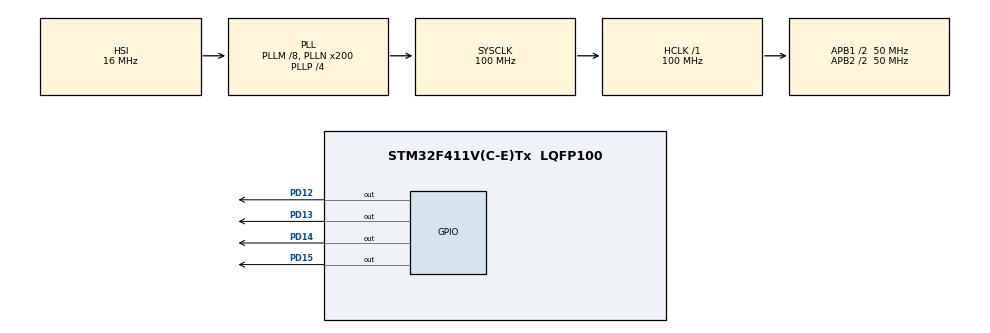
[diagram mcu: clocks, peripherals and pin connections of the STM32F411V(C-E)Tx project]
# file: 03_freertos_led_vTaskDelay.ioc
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Mcu.Family=STM32F4
Mcu.Name=STM32F411V(C-E)Tx
Mcu.Package=LQFP100
NVIC.PriorityGroup=NVIC_PRIORITYGROUP_4
NVIC.TIM5_IRQn=true\:15\:0\:false\:false\:true\:false\:true
NVIC.TimeBase=TIM5_IRQn
NVIC.TimeBaseIP=TIM5
PD12.GPIO_PuPd=GPIO_PULLUP
PD12.Signal=GPIO_Output
PD13.GPIO_PuPd=GPIO_PULLUP
PD13.Signal=GPIO_Output
PD14.GPIO_PuPd=GPIO_PULLUP
PD14.Signal=GPIO_Output
PD15.GPIO_PuPd=GPIO_PULLUP
PD15.Signal=GPIO_Output
ProjectManager.HeapSize=0x200
ProjectManager.StackSize=0x400
ProjectManager.TargetToolchain=STM32CubeIDE
RCC.48MHZClocksFreq_Value=50000000
RCC.AHBFreq_Value=100000000
RCC.APB1CLKDivider=RCC_HCLK_DIV2
RCC.APB1Freq_Value=50000000
RCC.APB1TimFreq_Value=100000000
RCC.APB2CLKDivider=RCC_HCLK_DIV2
RCC.APB2Freq_Value=50000000
RCC.APB2TimFreq_Value=100000000
RCC.CortexFreq_Value=100000000
RCC.HCLKFreq_Value=100000000
RCC.HSE_VALUE=8000000
RCC.HSI_VALUE=16000000
RCC.LSE_VALUE=32768
RCC.PLLI2SM=5
RCC.PLLI2SN=200
RCC.PLLM=8
RCC.PLLN=200
RCC.PLLP=RCC_PLLP_DIV4
RCC.PLLQ=8
RCC.SYSCLKFreq_VALUE=100000000
RCC.SYSCLKSource=RCC_SYSCLKSOURCE_PLLCLK
RCC.VCOOutputFreq_Value=400000000
VP_SYS_VS_tim5.Mode=TIM5
board=STM32F411E-DISCO

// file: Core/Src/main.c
/* USER CODE BEGIN Header */
/**
 ******************************************************************************
 * @file           : main.c
 * @brief          : Main program body
 ******************************************************************************
 * @attention
 *
 * Copyright (c) 2023 STMicroelectronics.
 * All rights reserved.
 *
 * This software is licensed under terms that can be found in the LICENSE file
 * in the root directory of this software component.
 * If no LICENSE file comes with this software, it is provided AS-IS.
 *
 ******************************************************************************
 */
/* USER CODE END Header */
#include "main.h"

/* USER CODE BEGIN Includes */

#include "FreeRTOS.h"
#include "task.h"

/* USER CODE END Includes */

/* USER CODE BEGIN PV */

#define DWT_CTRL    (*(volatile uint32_t*)0xE0001000)

/* USER CODE END PV */

void SystemClock_Config(void);
static void MX_GPIO_Init(void);
/* USER CODE BEGIN PFP */
void task_led_green(void *parameter);
void task_led_orange(void *parameter);
void task_led_red(void *parameter);
void task_led_blue(void *parameter);
/* USER CODE END PFP */

/* USER CODE BEGIN 0 */
extern void SEGGER_UART_init(uint32_t);
/* USER CODE END 0 */

int main(void) {
	/* USER CODE BEGIN 1 */
	TaskHandle_t taskHandle_led_green;
	TaskHandle_t taskHandle_led_orange;
	TaskHandle_t taskHandle_led_red;
	TaskHandle_t taskHandle_led_blue;

	BaseType_t status;
	/* USER CODE END 1 */

	/* MCU Configuration--------------------------------------------------------*/

	/* Reset of all peripherals, Initializes the Flash interface and the Systick. */
	HAL_Init();

	/* Configure the system clock */
	SystemClock_Config();

	/* Initialize all configured peripherals */
	MX_GPIO_Init();
	/* USER CODE BEGIN 2 */

	//Enable the CYCCNT counter.
	DWT_CTRL |= (1 << 0);

	SEGGER_SYSVIEW_Conf();
	SEGGER_SYSVIEW_Start();

	SEGGER_UART_init(500000);

	status = xTaskCreate(task_led_green, "led_green", 200, NULL, 2,
			&taskHandle_led_green);

	configASSERT(status == pdPASS);

	status = xTaskCreate(task_led_orange, "led_orange", 200, NULL, 2,
			&taskHandle_led_orange);

	configASSERT(status == pdPASS);

	status = xTaskCreate(task_led_red, "led_red", 200, NULL, 2,
			&taskHandle_led_red);

	configASSERT(status == pdPASS);
	status = xTaskCreate(task_led_blue, "led_blue", 200, NULL, 2,
			&taskHandle_led_blue);

	configASSERT(status == pdPASS);

	vTaskStartScheduler();
	/* USER CODE END 2 */

	/* Infinite loop */
	while (1) {

	}
}

void SystemClock_Config(void) {
	RCC_OscInitTypeDef RCC_OscInitStruct = { 0 };
	RCC_ClkInitTypeDef RCC_ClkInitStruct = { 0 };

	/** Configure the main internal regulator output voltage
	 */
	__HAL_RCC_PWR_CLK_ENABLE();
	__HAL_PWR_VOLTAGESCALING_CONFIG(PWR_REGULATOR_VOLTAGE_SCALE1);
	/** Initializes the RCC Oscillators according to the specified parameters
	 * in the RCC_OscInitTypeDef structure.
	 */
	RCC_OscInitStruct.OscillatorType = RCC_OSCILLATORTYPE_HSI;
	RCC_OscInitStruct.HSIState = RCC_HSI_ON;
	RCC_OscInitStruct.HSICalibrationValue = RCC_HSICALIBRATION_DEFAULT;
	RCC_OscInitStruct.PLL.PLLState = RCC_PLL_ON;
	RCC_OscInitStruct.PLL.PLLSource = RCC_PLLSOURCE_HSI;
	RCC_OscInitStruct.PLL.PLLM = 8;
	RCC_OscInitStruct.PLL.PLLN = 200;
	RCC_OscInitStruct.PLL.PLLP = RCC_PLLP_DIV4;
	RCC_OscInitStruct.PLL.PLLQ = 8;
	if (HAL_RCC_OscConfig(&RCC_OscInitStruct) != HAL_OK) {
		Error_Handler();
	}
	/** Initializes the CPU, AHB and APB buses clocks
	 */
	RCC_ClkInitStruct.ClockType = RCC_CLOCKTYPE_HCLK | RCC_CLOCKTYPE_SYSCLK
			| RCC_CLOCKTYPE_PCLK1 | RCC_CLOCKTYPE_PCLK2;
	RCC_ClkInitStruct.SYSCLKSource = RCC_SYSCLKSOURCE_PLLCLK;
	RCC_ClkInitStruct.AHBCLKDivider = RCC_SYSCLK_DIV1;
	RCC_ClkInitStruct.APB1CLKDivider = RCC_HCLK_DIV2;
	RCC_ClkInitStruct.APB2CLKDivider = RCC_HCLK_DIV2;

	if (HAL_RCC_ClockConfig(&RCC_ClkInitStruct, FLASH_LATENCY_3) != HAL_OK) {
		Error_Handler();
	}
}

static void MX_GPIO_Init(void) {
	GPIO_InitTypeDef GPIO_InitStruct = { 0 };

	/* GPIO Ports Clock Enable */
	__HAL_RCC_GPIOD_CLK_ENABLE();

	/*Configure GPIO pin Output Level */
	HAL_GPIO_WritePin(GPIOD,
			GPIO_PIN_12 | GPIO_PIN_13 | GPIO_PIN_14 | GPIO_PIN_15,
			GPIO_PIN_RESET);

	/*Configure GPIO pins : PD12 PD13 PD14 PD15 */
	GPIO_InitStruct.Pin = GPIO_PIN_12 | GPIO_PIN_13 | GPIO_PIN_14 | GPIO_PIN_15;
	GPIO_InitStruct.Mode = GPIO_MODE_OUTPUT_PP;
	GPIO_InitStruct.Pull = GPIO_PULLUP;
	GPIO_InitStruct.Speed = GPIO_SPEED_FREQ_LOW;
	HAL_GPIO_Init(GPIOD, &GPIO_InitStruct);

}

/* USER CODE BEGIN 4 */

void task_led_green(void *parameter) {

	while (1) {
		SEGGER_SYSVIEW_PrintfTarget("Toggling green LED");

		HAL_GPIO_TogglePin(GPIOD, GPIO_PIN_12);
//		HAL_Delay(1000);
		vTaskDelay(pdMS_TO_TICKS(1000));
	}
}

void task_led_orange(void *parameter) {

	while (1) {
		SEGGER_SYSVIEW_PrintfTarget("Toggling orange LED");

		HAL_GPIO_TogglePin(GPIOD, GPIO_PIN_13);
//		HAL_Delay(500);
		vTaskDelay(pdMS_TO_TICKS(500));

	}

}

void task_led_red(void *parameter) {

	while (1) {
		SEGGER_SYSVIEW_PrintfTarget("Toggling red LED");

		HAL_GPIO_TogglePin(GPIOD, GPIO_PIN_14);
//		HAL_Delay(250);
		vTaskDelay(pdMS_TO_TICKS(250));

	}
}

void task_led_blue(void *parameter) {

	while (1) {
		SEGGER_SYSVIEW_PrintfTarget("Toggling blue LED");

		HAL_GPIO_TogglePin(GPIOD, GPIO_PIN_15);
//		HAL_Delay(125);
		vTaskDelay(pdMS_TO_TICKS(125));

	}
}

/*
 *
 * 			enter sleep mode when idle task running to saving power
 *
 * */

void vApplicationIdleHook(void)
{
	HAL_PWR_EnterSLEEPMode(PWR_MAINREGULATOR_ON, PWR_SLEEPENTRY_WFI);
}

/* USER CODE END 4 */

void HAL_TIM_PeriodElapsedCallback(TIM_HandleTypeDef *htim) {
	if (htim->Instance == TIM5) {
		HAL_IncTick();
	}
}

void Error_Handler(void) {
	__disable_irq();
	while (1) {
	}
}
